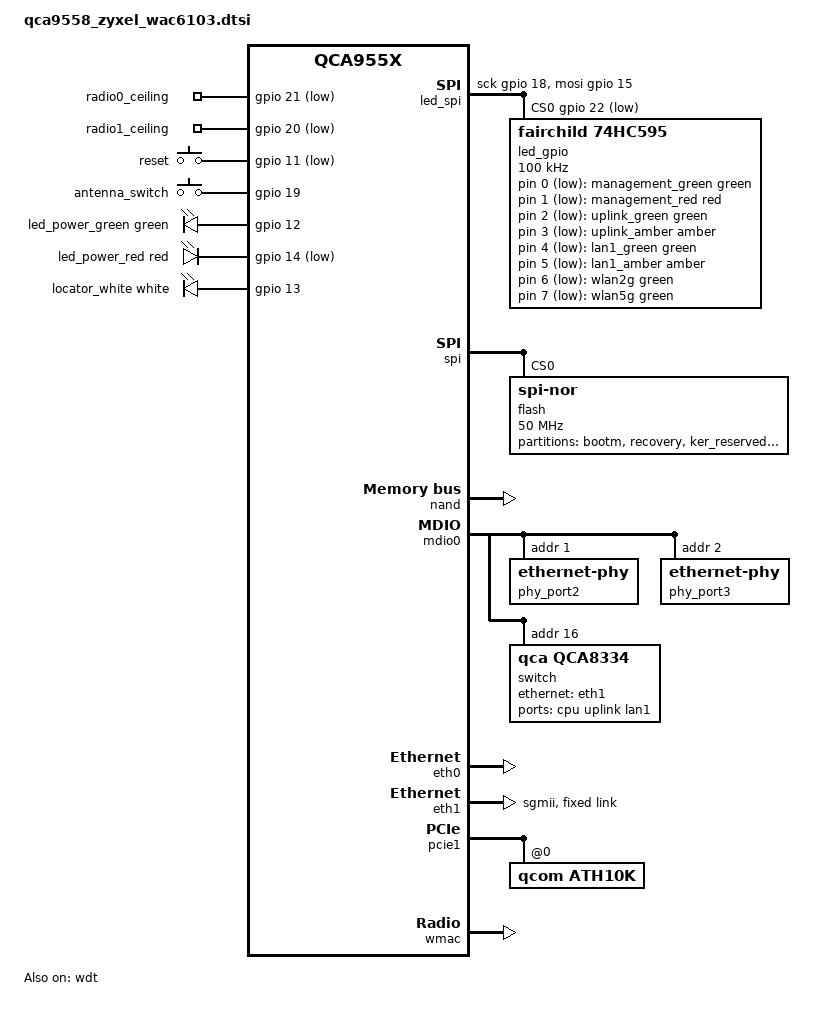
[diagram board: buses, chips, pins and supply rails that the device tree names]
// SPDX-License-Identifier: GPL-2.0-or-later OR MIT

#include "qca955x.dtsi"

#include <dt-bindings/gpio/gpio.h>
#include <dt-bindings/input/input.h>
#include <dt-bindings/leds/common.h>
#include <dt-bindings/mtd/partitions/uimage.h>

/ {
	aliases {
		label-mac-device = &eth1;
		led-boot = &led_power_green;
		led-failsafe = &led_power_red;
		led-upgrade = &led_power_green;
	};

	gpio-export {
		compatible = "gpio-export";

		gpio_radio0_ceiling {
			gpio-export,name = "radio0_ceiling";
			gpio-export,output = <0>;
			gpios = <&gpio 21 GPIO_ACTIVE_LOW>;
		};

		gpio_radio1_ceiling {
			gpio-export,name = "radio1_ceiling";
			gpio-export,output = <0>;
			gpios = <&gpio 20 GPIO_ACTIVE_LOW>;
		};
	};

	keys {
		compatible = "gpio-keys";

		reset {
			label = "reset";
			linux,code = <KEY_RESTART>;
			gpios = <&gpio 11 GPIO_ACTIVE_LOW>;
			debounce-interval = <60>;
		};

		antenna_switch {
			label = "antenna_switch";
			linux,code = <BTN_0>;
			linux,input-type = <EV_SW>;
			gpios = <&gpio 19 GPIO_ACTIVE_HIGH>;
			debounce-interval = <60>;
		};
	};

	led_spi {
		compatible = "spi-gpio";
		#address-cells = <1>;
		#size-cells = <0>;

		sck-gpios = <&gpio 18 GPIO_ACTIVE_HIGH>;
		mosi-gpios = <&gpio 15 GPIO_ACTIVE_HIGH>;
		cs-gpios = <&gpio 22 GPIO_ACTIVE_LOW>;
		num-chipselects = <1>;

		led_gpio: led_gpio@0 {
			compatible = "fairchild,74hc595";
			reg = <0>;
			gpio-controller;
			#gpio-cells = <2>;
			registers-number = <1>;
			spi-max-frequency = <100000>;
		};
	};

	leds {
		compatible = "gpio-leds";

		pinctrl-names = "default";
		pinctrl-0 = <&jtag_disable_pins>;

		led_power_green: power_green {
			function = LED_FUNCTION_POWER;
			color = <LED_COLOR_ID_GREEN>;
			gpios = <&gpio 12 GPIO_ACTIVE_HIGH>;
		};

		led_power_red: power_red {
			function = LED_FUNCTION_POWER;
			color = <LED_COLOR_ID_RED>;
			gpios = <&gpio 14 GPIO_ACTIVE_LOW>;
		};

		locator_white {
			function = "locator";
			color = <LED_COLOR_ID_WHITE>;
			gpios = <&gpio 13 GPIO_ACTIVE_HIGH>;
		};

		management_green {
			function = "management";
			color = <LED_COLOR_ID_GREEN>;
			gpios = <&led_gpio 0 GPIO_ACTIVE_LOW>;
		};

		management_red {
			function = "management";
			color = <LED_COLOR_ID_RED>;
			gpios = <&led_gpio 1 GPIO_ACTIVE_LOW>;
		};

		uplink_green {
			function = "uplink";
			color = <LED_COLOR_ID_GREEN>;
			gpios = <&led_gpio 2 GPIO_ACTIVE_LOW>;
			linux,default-trigger = "netdev";
		};

		uplink_amber {
			function = "uplink";
			color = <LED_COLOR_ID_AMBER>;
			gpios = <&led_gpio 3 GPIO_ACTIVE_LOW>;
			linux,default-trigger = "netdev";
		};

		lan1_green {
			function = "lan1";
			color = <LED_COLOR_ID_GREEN>;
			gpios = <&led_gpio 4 GPIO_ACTIVE_LOW>;
			linux,default-trigger = "netdev";
		};

		lan1_amber {
			function = "lan1";
			color = <LED_COLOR_ID_AMBER>;
			gpios = <&led_gpio 5 GPIO_ACTIVE_LOW>;
			linux,default-trigger = "netdev";
		};

		wlan2g {
			function = LED_FUNCTION_WLAN_2GHZ;
			color = <LED_COLOR_ID_GREEN>;
			gpios = <&led_gpio 6 GPIO_ACTIVE_LOW>;
			linux,default-trigger = "phy1tpt";
		};

		wlan5g {
			function = LED_FUNCTION_WLAN_5GHZ;
			color = <LED_COLOR_ID_GREEN>;
			gpios = <&led_gpio 7 GPIO_ACTIVE_LOW>;
			linux,default-trigger = "phy0tpt";
		};
	};
};

&spi {
	status = "okay";

	flash@0 {
		compatible = "jedec,spi-nor";
		reg = <0>;
		spi-max-frequency = <50000000>;

		partitions {
			compatible = "fixed-partitions";
			#address-cells = <1>;
			#size-cells = <1>;

			partition@0 {
				label = "bootm";
				reg = <0x0 0x30000>;
				read-only;
			};

			partition@30000 {
				label = "recovery";
				reg = <0x30000 0x160000>;
				read-only;
			};

			partition@190000 {
				label = "ker_reserved";
				reg = <0x190000 0x120000>;
				read-only;
			};

			partition@2b0000 {
				label = "fs_reserved";
				reg = <0x2b0000 0x020000>;
				read-only;
			};

			partition@2d0000 {
				label = "conf";
				reg = <0x2d0000 0xce0000>;
				read-only;
			};

			partition@fb0000 {
				label = "mrd";
				reg = <0xfb0000 0x010000>;

				nvmem-layout {
					compatible = "fixed-layout";
					#address-cells = <1>;
					#size-cells = <1>;

					macaddr_mrd_0: macaddr@fff8 {
						compatible = "mac-base";
						reg = <0xfff8 0x6>;
						#nvmem-cell-cells = <1>;
					};
				};
			};

			partition@fc0000 {
				label = "disklog_reserved";
				reg = <0xfc0000 0x030000>;
				read-only;
			};

			partition@ff0000 {
				label = "art";
				reg = <0xff0000 0x010000>;
				read-only;

				nvmem-layout {
					compatible = "fixed-layout";
					#address-cells = <1>;
					#size-cells = <1>;

					cal_art_1000: calibration@1000 {
						reg = <0x1000 0x440>;
					};

					cal_art_5000: calibration@5000 {
						reg = <0x5000 0x844>;
					};
				};
			};
		};
	};
};

&nand {
	status = "okay";

	partitions {
		compatible = "fixed-partitions";
		#address-cells = <1>;
		#size-cells = <1>;

		partition@0 {
			label = "bootm_reserved";
			reg = <0x0 0x100000>;
			read-only;
		};

		partition@100000 {
			label = "recovery_reserved";
			reg = <0x100000 0x100000>;
			read-only;
		};

		partition@200000 {
			label = "header";
			reg = <0x200000 0xa0000>;
		};

		partition@2a0000 {
			label = "kernel";
			reg = <0x2a0000 0x1860000>;
		};

		partition@1b00000 {
			label = "ubi";
			reg = <0x1b00000 0x5500000>;
		};

		partition@7000000 {
			label = "alt_header";
			reg = <0x7000000 0xa0000>;
		};

		partition@7a00000 {
			label = "alt_kernel";
			reg = <0x7a00000 0x1860000>;
			read-only;
		};

		partition@8900000 {
			label = "alt_ubi";
			reg = <0x8900000 0x5500000>;
			read-only;
		};

		partition@de00000 {
			label = "conf_reserved";
			reg = <0xde00000 0x100000>;
			read-only;
		};

		partition@df00000 {
			label = "mrd_reserved";
			reg = <0xdf00000 0x100000>;
			read-only;
		};

		partition@e000000 {
			label = "disklog";
			reg = <0xe000000 0x1f00000>;
			read-only;
		};

		partition@ff00000 {
			label = "ART_reserved";
			reg = <0xff00000 0x100000>;
			read-only;
		};
	};
};

&mdio0 {
	status = "okay";

	phy_port2: ethernet-phy@1 {
		reg = <1>;
	};

	phy_port3: ethernet-phy@2 {
		reg = <2>;
	};

	switch: switch@10 {
		compatible = "qca,qca8334";
		#address-cells = <1>;
		#size-cells = <0>;
		reg = <0x10>;

		ports {
			#address-cells = <1>;
			#size-cells = <0>;

			port@0 {
				reg = <0>;
				label = "cpu";
				ethernet = <&eth1>;
				phy-mode = "sgmii";
				qca,sgmii-enable-pll;
				qca,sgmii-rxclk-falling-edge;

				fixed-link {
					speed = <1000>;
					full-duplex;
				};
			};

			port@2 {
				reg = <2>;
				label = "uplink";
				phy-mode = "internal";
				phy-handle = <&phy_port2>;
			};

			port@3 {
				reg = <3>;
				label = "lan1";
				phy-mode = "internal";
				phy-handle = <&phy_port3>;
			};
		};
	};
};

&eth0 {
	status = "okay";

	nvmem-cells = <&macaddr_mrd_0 0>;
	nvmem-cell-names = "mac-address";

	gmac-config {
		device = <&gmac>;

		rgmii-enabled = <1>;

		rxdv-delay = <3>;
		rxd-delay = <3>;
		txen-delay = <0>;
		txd-delay = <0>;
	};
};

&eth1 {
	status = "okay";

	phy-mode = "sgmii";
	mdiobus = <&mdio0>;

	nvmem-cells = <&macaddr_mrd_0 0>;
	nvmem-cell-names = "mac-address";

	pll-data = <0x03000000 0x00000101 0x00001313>;

	gmac-config {
		device = <&gmac>;
	};

	fixed-link {
		speed = <1000>;
		full-duplex;
	};
};

&pcie1 {
	status = "okay";

	ath10k: wifi@0,0 {
		compatible = "qcom,ath10k";
		reg = <0x0000 0 0 0 0>;

		nvmem-cells = <&cal_art_5000>, <&macaddr_mrd_0 2>;
		nvmem-cell-names = "calibration", "mac-address";

		#gpio-cells = <2>;
		gpio-controller;
	};
};

&wdt {
	status = "okay";
};

&wmac {
	status = "okay";

	nvmem-cells = <&macaddr_mrd_0 1>, <&cal_art_1000>;
	nvmem-cell-names = "mac-address", "calibration";
};
